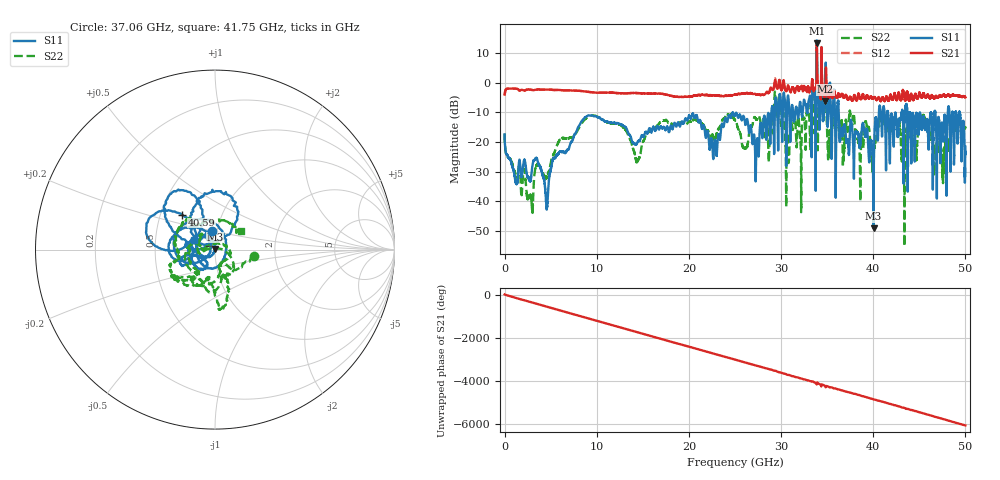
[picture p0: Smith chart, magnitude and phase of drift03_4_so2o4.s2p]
!Created with skrf (http://scikit-rf.org).
# Hz S RI R 50.0
!freq ReS11 ImS11 ReS21 ImS21 ReS12 ImS12 ReS22 ImS22
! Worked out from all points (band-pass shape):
!   10001 points, 300 kHz to 50 GHz, reference 50 ohm
!   highest |S21| = 13.30 dB at 33.88 GHz (marker M1); lowest = -6.3 dB at 34.79 GHz (marker M2)
!   |S21| within 3 dB of the highest: 33.86911 GHz to 33.88993 GHz (20.82 MHz wide, 0.0614 % of centre); 34.37689 GHz to 34.39058 GHz (13.68 MHz wide, 0.0398 % of centre)
!   lowest |S11| = -49.2 dB at 40.03 GHz (marker M3), VSWR 1.01, Z = 49.9 + j0.338 ohm
!   |S11| at or under -10 dB: start of sweep to 28.94 GHz; 36.25 GHz to 40.61 GHz (4.362 GHz wide, 11.3 % of centre); 43.93 GHz to 46.25 GHz (2.328 GHz wide, 5.16 % of centre) (the widest 3 of 47)
!   |S22| runs from -55.2 to 9.7 dB; largest |S21 - S12| = 0.71
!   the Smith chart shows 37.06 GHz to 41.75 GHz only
!   S11 on the Smith chart (normalised r, x): 37.06 GHz: 0.94, +0.20; 40.59 GHz: 0.65, +0.27; 41.75 GHz: 0.79, +0.08
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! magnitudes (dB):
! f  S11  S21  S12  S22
! 300 kHz  -17.5  -4.0  -4.1  -17.2
! 2.85 GHz  -32.3  -2.4  -2.4  -38.2
! 4.585 GHz  -42.0  -2.3  -2.3  -31.8
! 8.335 GHz  -13.1  -2.8  -2.8  -13.9
! 14.43 GHz  -20.0  -3.5  -3.5  -26.6
! 16.67 GHz  -15.5  -3.7  -3.7  -14.3
! 22.82 GHz  -19.3  -4.3  -4.3  -19.1
! 25 GHz  -11.0  -4.0  -4.0  -12.6
! 27.39 GHz  -19.2  -4.1  -4.1  -12.3
! 29.6 GHz  -10.4  -2.1  -2.1  -11.8
! 30.7 GHz  -5.8  -1.5  -1.6  -17.3
! 33.34 GHz  -13.7  -0.6  -0.6  -7.4
! 33.88 GHz  14.2  13.3  13.0  9.7
! 34.79 GHz  -3.3  -6.3  -5.0  -8.5
! 37.06 GHz  -19.5  -4.3  -4.5  -13.2
! 40.03 GHz  -49.2  -5.3  -5.3  -21.8
! 40.59 GHz  -11.5  -4.9  -4.9  -14.1
! 41.67 GHz  -12.6  -6.1  -6.1  -15.5
! 41.75 GHz  -18.0  -5.6  -5.5  -14.9
! 45.53 GHz  -13.2  -4.0  -4.0  -11.6
! 47.57 GHz  -19.3  -4.3  -4.2  -30.3
! 50 GHz  -21.6  -4.9  -4.9  -15.1
